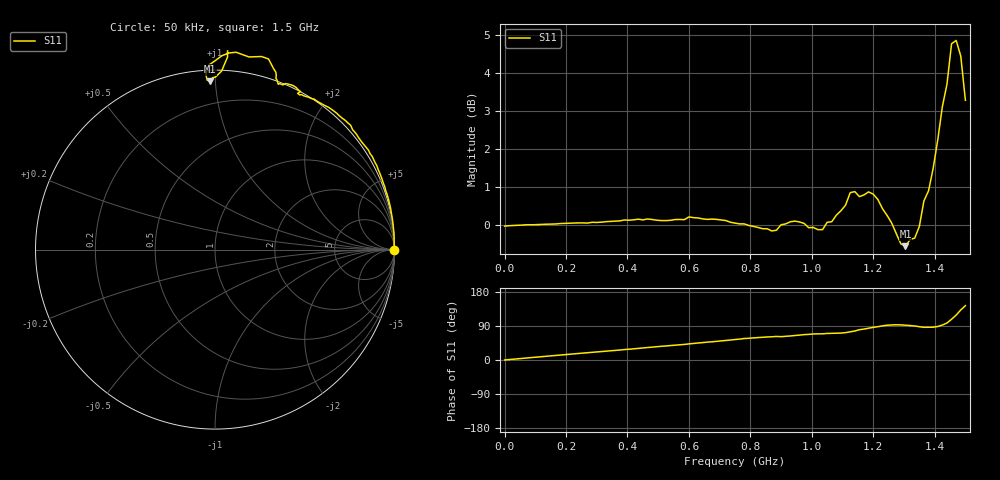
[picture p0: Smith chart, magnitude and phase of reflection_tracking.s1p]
! Created with skrf 1.8.0 (http://scikit-rf.org).
# Hz S RI R 50.0
!freq ReS11 ImS11
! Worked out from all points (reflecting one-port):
!   101 points, 50 kHz to 1.5 GHz, reference 50 ohm
!   lowest |S11| = -0.6 dB at 1.305 GHz (marker M1), VSWR 31.49, Z = 3.08 + j48.3 ohm
!   phase of S11 starts at 0 deg and turns +143 deg over the sweep
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50000  0.9972 0.0004
1.950435e8  0.9756 0.2427
3.750375e8  0.9079 0.4493
5.70031e8  0.7783 0.6551
7.50025e8  0.5916 0.8139
8.550215e8  0.482 0.8637
9.0002e8  0.4765 0.8805
9.450185e8  0.4341 0.9143
1.005016e9  0.3609 0.9251
1.035016e9  0.3523 0.9214
1.095014e9  0.339 0.988
1.125012e9  0.2983 1.062
1.18501e9  0.1172 1.1
1.245008e9  -0.0321 1.03
1.275008e9  -0.0505 0.9735
1.305006e9  -0.0297 0.938
1.320006e9  -0.0145 0.9574
1.350005e9  0.0371 0.9952
1.365004e9  0.07 1.074
1.380004e9  0.0698 1.107
1.395004e9  0.0719 1.184
1.410003e9  0.0354 1.293
1.425002e9  -0.055 1.429
1.440002e9  -0.2031 1.517
1.455002e9  -0.5216 1.65
1.470001e9  -0.8377 1.533
1.485e9  -1.118 1.236
1.5e9  -1.17 0.8708
